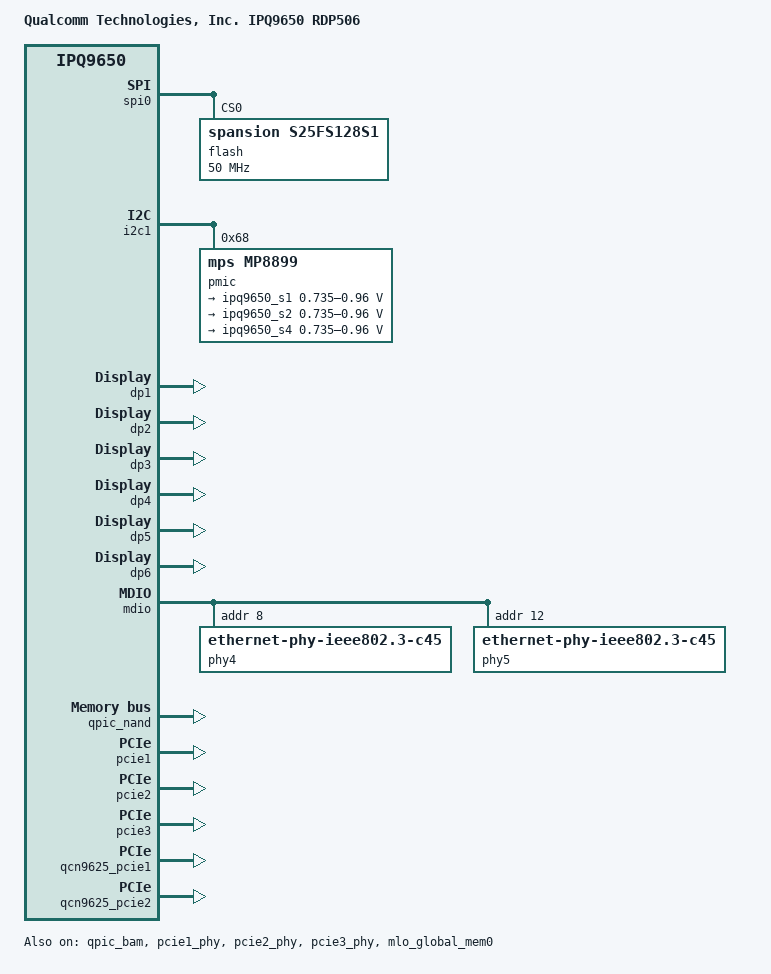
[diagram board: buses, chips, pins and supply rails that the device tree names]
// SPDX-License-Identifier: (GPL-2.0+ OR BSD-3-Clause)
/*
 * IPQ9650 RDP506 board device tree source
 *
 * Copyright (c) 2020-2021 The Linux Foundation. All rights reserved.
 * Copyright (c) Qualcomm Technologies, Inc. and/or its subsidiaries.
 */

/dts-v1/;

#include "ipq9650-rdp-common.dtsi"
#include "ipq9650-default-memory.dtsi"

/ {
	model = "Qualcomm Technologies, Inc. IPQ9650 RDP506";
	compatible = "qcom,ipq9650-rdp506", "qcom,ipq9650";

	aliases {
		ethernet0 = "/soc/dp1";
		ethernet1 = "/soc/dp2";
		ethernet2 = "/soc/dp3";
		ethernet3 = "/soc/dp4";
		ethernet4 = "/soc/dp5";
		ethernet5 = "/soc/dp6";
	};

	soc@0 {
		qupv3: geniqup@1ac0000 {
			status = "okay";

			spi0: spi@1a80000 {
				pinctrl-0 = <&qup_spi0_default>;
				pinctrl-names = "default";
				status = "okay";

				flash@0 {
					compatible = "spansion,s25fs128s1", "jedec,spi-nor";
					#address-cells = <1>;
					#size-cells = <1>;
					reg = <0>;
					spi-max-frequency = <50000000>;
				};
			};

			i2c1: i2c@1a8c000 {
				pinctrl-0 = <&qup_i2c1_default>;
				pinctrl-names = "default";
				status = "okay";

				pmic@68 {
					compatible = "mps,mp8899";
					reg = <0x68>;

					regulators {
						/* APC_CX */
						ipq9650_s1: buck1 {
							regulator-name = "buck1";
							regulator-min-microvolt = <735000>;
							regulator-max-microvolt = <960000>;
							regulator-always-on;
							regulator-boot-on;
						};

						/* NSP_CX */
						ipq9650_s2: buck2 {
							regulator-name = "buck2";
							regulator-min-microvolt = <735000>;
							regulator-max-microvolt = <960000>;
						};

						/* NSP_MX */
						ipq9650_s4: buck4 {
							regulator-name = "buck4";
							regulator-min-microvolt = <735000>;
							regulator-max-microvolt = <960000>;
						};
					};
				};
			};
		};

		dp1 {
			device_type = "network";
			compatible = "qcom,nss-dp";
			qcom,id = <1>;
			reg = <0x2a500000 0x4000>;
			qcom,mactype = <1>;
			local-mac-address = [000000000000];
			qcom,ppe-offload-disabled = <0>;
		};

		dp2 {
			device_type = "network";
			compatible = "qcom,nss-dp";
			qcom,id = <2>;
			reg = <0x2a504000 0x4000>;
			qcom,mactype = <1>;
			local-mac-address = [000000000000];
			qcom,ppe-offload-disabled = <0>;
		};

		dp3 {
			device_type = "network";
			compatible = "qcom,nss-dp";
			qcom,id = <3>;
			reg = <0x2a508000 0x4000>;
			qcom,mactype = <1>;
			local-mac-address = [000000000000];
			qcom,ppe-offload-disabled = <0>;
		};

		dp4 {
			device_type = "network";
			compatible = "qcom,nss-dp";
			qcom,id = <4>;
			reg = <0x2a50c000 0x4000>;
			qcom,mactype = <1>;
			local-mac-address = [000000000000];
			qcom,ppe-offload-disabled = <0>;
		};

		dp5 {
			device_type = "network";
			compatible = "qcom,nss-dp";
			qcom,id = <5>;
			reg = <0x2a510000 0x4000>;
			qcom,mactype = <1>;
			local-mac-address = [000000000000];
			qcom,ppe-offload-disabled = <0>;
		};

		dp6 {
			device_type = "network";
			compatible = "qcom,nss-dp";
			qcom,id = <6>;
			reg = <0x2a514000 0x4000>;
			qcom,mactype = <1>;
			local-mac-address = [000000000000];
			qcom,ppe-offload-disabled = <0>;
		};
	};
};

&mdio {
	phy-reset-gpio = <&tlmm 18 GPIO_ACTIVE_LOW>, /* Reset for QCE1204. */
			 <&tlmm 14 GPIO_ACTIVE_LOW>; /* Reset for two QCA81XXs. */

	phy4: ethernet-phy@8 {
		compatible = "ethernet-phy-ieee802.3-c45";
		reg = <8>;
	};

	phy5: ethernet-phy@c {
		compatible = "ethernet-phy-ieee802.3-c45";
		reg = <12>;
	};
};

&ess_switch {
	switch_mac_mode1 = <0xd>; /* mac mode for uniphy instance1 */
	switch_mac_mode2 = <0xd>; /* mac mode for uniphy instance2 */

	qcom,port_phyinfo {
		port@4 {
			port_id = <5>;
			phy_address = <8>;
			phy-handle = <&phy4>;
			phy-mode = "usxgmii";
			ethernet-phy-ieee802.3-c45;
		};

		port@5 {
			port_id = <6>;
			phy_address = <12>;
			phy-handle = <&phy5>;
			phy-mode = "usxgmii";
			ethernet-phy-ieee802.3-c45;
		};
	};
};

&qpic_bam {
	status = "okay";
};

&qpic_nand {
	status = "okay";
};

&sdhc {
	max-frequency = <192000000>;
	bus-width = <4>;
	mmc-ddr-1_8v;
	mmc-hs200-1_8v;
	non-removable;
	pinctrl-0 = <&sdc_default_state>;
	pinctrl-names = "default";
	status = "disabled";
};

&pcie1_phy {
	status = "okay";
};

&pcie1 {
	perst-gpio = <&tlmm 28 GPIO_ACTIVE_LOW>;
	status = "okay";

	pcie1_rp {
		reg = <0 0 0 0 0>;

		qcom,mhi@0 {
			reg = <0 0 0 0 0>;
			memory-region = <&qcn9625_pcie1>, <&mlo_global_mem0>;
			memory-region-names = "host-ddr-mem", "mlo-global-mem";
			qcom,board_id = <0x5009>;

			ports {
				#address-cells = <1>;
				#size-cells = <0>;

				port@0 {
					reg = <0>;
				};

				port@1 {
					reg = <1>;
				};
			};
		};
	};
};

&pcie2_phy {
	status = "okay";
};

&pcie2 {
	perst-gpio = <&tlmm 52 GPIO_ACTIVE_LOW>;
	status = "okay";

	pcie2_rp {
		reg = <0 0 0 0 0>;

		qcom,mhi@0 {
			reg = <0 0 0 0 0>;
			memory-region = <&qcn9625_pcie2>, <&mlo_global_mem0>;
			memory-region-names = "host-ddr-mem", "mlo-global-mem";
			qcom,board_id = <0x501b>;

			ports {
				#address-cells = <1>;
				#size-cells = <0>;

				port@0 {
					reg = <0>;
				};

				port@1 {
					reg = <1>;
				};
			};
		};
	};
};

&pcie3_phy {
	status = "okay";
};

&pcie3 {
	perst-gpio = <&tlmm 41 GPIO_ACTIVE_LOW>;
	status = "okay";

	pcie3_rp {
		reg = <0 0 0 0 0>;

		qcom,mhi@0 {
			reg = <0 0 0 0 0>;
		};
	};
};

&qcn9625_pcie1 {
	status = "okay";
};

&qcn9625_pcie2 {
	status = "okay";
};

&mlo_global_mem0 {
	status = "okay";
};

&qusb_phy_1 {
	status = "disabled";
};

&usb2 {
	status = "disabled";
};

&qusb_phy_0 {
	status = "disabled";
};

&ssphy_0 {
	status = "disabled";
};

&usb3 {
	status = "disabled";
};

&tlmm {
	pcie0_default_state: pcie0-default-state {
		perst-n-pins {
			pins = "gpio25";
			function = "gpio";
			drive-strength = <8>;
			bias-pull-down;
			output-low;
		};
	};

	pcie1_default_state: pcie1-default-state {
		perst-n-pins {
			pins = "gpio28";
			function = "gpio";
			drive-strength = <8>;
			bias-pull-down;
			output-low;
		};
	};

	pcie2_default_state: pcie2-default-state {
		perst-n-pins {
			pins = "gpio52";
			function = "gpio";
			drive-strength = <8>;
			bias-pull-down;
			output-low;
		};
	};

	pcie3_default_state: pcie3-default-state {
		perst-n-pins {
			pins = "gpio41";
			function = "gpio";
			drive-strength = <8>;
			bias-pull-down;
			output-low;
		};
	};

	pcie4_default_state: pcie4-default-state {
		perst-n-pins {
			pins = "gpio31";
			function = "gpio";
			drive-strength = <8>;
			bias-pull-down;
			output-low;
		};
	};

	sdc_default_state: sdc-default-state {
		clk-pins {
			pins = "gpio5";
			function = "sdc_clk";
			drive-strength = <8>;
			bias-disable;
		};

		cmd-pins {
			pins = "gpio4";
			function = "sdc_cmd";
			drive-strength = <8>;
			bias-pull-up;
		};

		data-pins {
			pins = "gpio0", "gpio1", "gpio2", "gpio3";
			function = "sdc_data";
			drive-strength = <8>;
			bias-pull-up;
		};
	};
};

&CPU0 {
	cpu-supply = <&ipq9650_s1>;
};

&CPU1 {
	cpu-supply = <&ipq9650_s1>;
};

&CPU2 {
	cpu-supply = <&ipq9650_s1>;
};

&CPU3 {
	cpu-supply = <&ipq9650_s1>;
};

&CPU4 {
	cpu-supply = <&ipq9650_s1>;
};

&remoteproc_cdsp {
	cx-supply = <&ipq9650_s2>;
	mx-supply = <&ipq9650_s4>;
	/delete-property/ mx-supply;
	/delete-property/ cx-supply;
};
